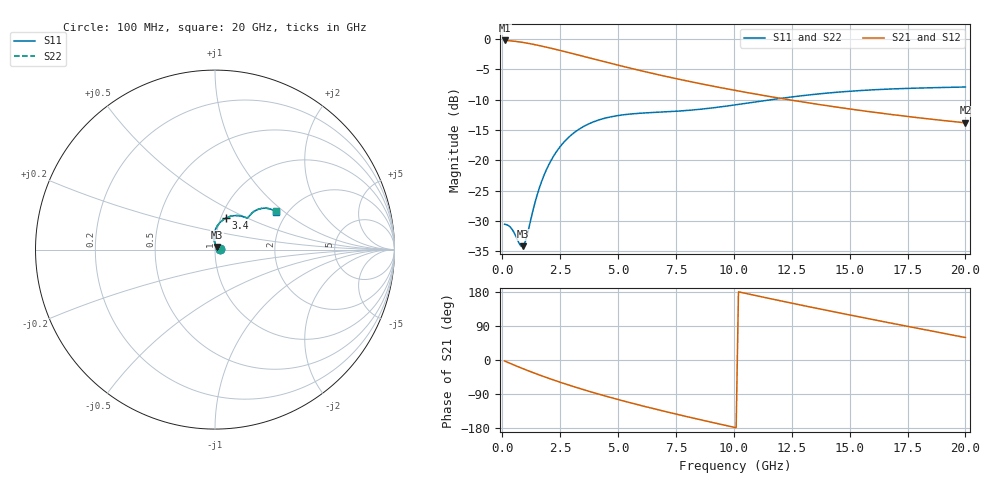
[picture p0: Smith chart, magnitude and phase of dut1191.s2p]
! Touchstone file exported from HFSS 2024.1.0
!  File:  C:/UserFiles/LocalFiles/RDL_TSV_Batchsim/temp_RDL_TSV_1191_1780127904.aedt
!  Generated:  04:17:10 PM May 30, 2026
!  Design:  RDL_TSV
!  Project:  temp_RDL_TSV_1191_1780127904
!  Setup:  Setup1
!  Solution:  Sweep
! Variables:
!  dtsv = 14.03um
!  hbump = 3um
!  htsv = 92.15um
!  ldown = 435.28um
!  lrdl = 694.52um
!  p = 40
!  p1 = 46.9um
!  rhole = 10um
!  subl = 4083.92um
!  t = 450um
!  tdown = 2.54um
!  trdl = 3.01um
!  viad = 10um
!  wdown = 19.46um
!  wrdl = 15.45um
!  xbump = 18um
# GHz S MA R 50.000000
! Terminal data exported
! Port[1] = TM1_1_T1
! Port[2] = TM1_4_T1
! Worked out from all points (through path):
!   200 points, 100 MHz to 20 GHz, reference 50 ohm
!   highest |S21| = -0.27 dB at 100 MHz (marker M1); lowest = -13.8 dB at 20 GHz (marker M2)
!   group delay of S21, straight-line fit = 39.6 ps
!   lowest |S11| = -34.1 dB at 900 MHz (marker M3), VSWR 1.04, Z = 51.2 + j1.57 ohm
!   |S11| at or under -10 dB: start of sweep to 11.66 GHz
!   |S22| runs from -34.2 to -7.9 dB; largest |S21 - S12| = 1e-14
!   S11 on the Smith chart (normalised r, x): 100 MHz: 1.06, +0.00; 3.4 GHz: 1.06, +0.38; 20 GHz: 1.75, +0.88
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0.1  0.0297 2.3  0.9695 -2.7  0.9695 -2.7  0.0297 2.3
! Gamma 0 0 0 0
! Port Impedance 50 0 50 0
0.4  0.02743 8.4  0.9608 -10.6  0.9608 -10.6  0.02742 8.4
0.8  0.01968 36.7  0.9399 -20.6  0.9399 -20.6  0.01965 36.7
0.9  0.01962 51.5  0.9334 -23.1  0.9334 -23.1  0.0196 51.7
1  0.02153 66.4  0.9266 -25.5  0.9266 -25.5  0.02152 66.5
1.4  0.04391 93.9  0.8962 -34.9  0.8962 -34.9  0.04397 94.0
1.6  0.05911 95.7  0.8797 -39.5  0.8797 -39.5  0.0592 95.8
2  0.09121 92.6  0.8455 -48.3  0.8455 -48.3  0.09136 92.7
2.6  0.1367 83.4  0.7933 -60.7  0.7933 -60.7  0.137 83.5
3.4  0.1845 71.1  0.7259 -76.3  0.7259 -76.3  0.1848 71.2
3.5  0.1892 69.7  0.7177 -78.1  0.7177 -78.1  0.1896 69.8
4.3  0.2186 60.0  0.6559 -92.5  0.6559 -92.5  0.2191 60.0
5.1  0.2351 52.8  0.6003 -105.9  0.6003 -105.9  0.2357 52.9
5.9  0.2436 48.1  0.5512 -118.7  0.5512 -118.7  0.2442 48.2
6.8  0.249 45.3  0.5031 -132.4  0.5031 -132.4  0.2497 45.3
8.3  0.2603 44.3  0.437 -154.1  0.437 -154.1  0.261 44.3
10.1  0.2865 44.7  0.3749 -178.8  0.3749 -178.8  0.2873 44.7
11.7  0.317 43.8  0.3311 160.2  0.3311 160.2  0.3178 43.8
13.4  0.3477 41.3  0.2934 138.6  0.2934 138.6  0.3485 41.3
15  0.3701 38.4  0.2645 118.9  0.2645 118.9  0.3708 38.4
16.7  0.3858 35.4  0.2395 98.4  0.2395 98.4  0.3865 35.5
20  0.4011 31.9  0.2034 59.3  0.2034 59.3  0.402 32.0
